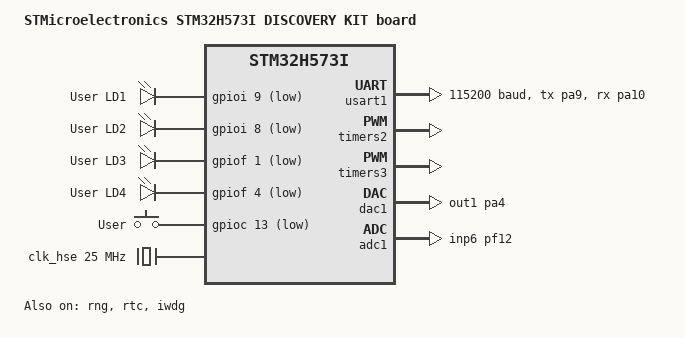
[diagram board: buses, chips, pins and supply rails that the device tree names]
/*
 * Copyright (c) 2023 STMicroelectronics
 *
 * SPDX-License-Identifier: Apache-2.0
 */

/dts-v1/;
#include <st/h5/stm32h573Xi.dtsi>
#include <st/h5/stm32h573iikxq-pinctrl.dtsi>
#include "arduino_r3_connector.dtsi"

/ {
	model = "STMicroelectronics STM32H573I DISCOVERY KIT board";
	compatible = "st,stm32h573i-dk";

	chosen {
		zephyr,console = &usart1;
		zephyr,shell-uart = &usart1;
		zephyr,sram = &sram0;
		zephyr,flash = &flash0;
		zephyr,code-partition = &slot0_partition;
	};

	leds {
		compatible = "gpio-leds";
		green_led_0: led_1 {
			gpios = <&gpioi 9 GPIO_ACTIVE_LOW>;
			label = "User LD1";
		};
		orange_led_0: led_2 {
			gpios = <&gpioi 8 GPIO_ACTIVE_LOW>;
			label = "User LD2";
		};
		red_led_0: led_3 {
			gpios = <&gpiof 1 GPIO_ACTIVE_LOW>;
			label = "User LD3";
		};
		blue_led_0: led_4 {
			gpios = <&gpiof 4 GPIO_ACTIVE_LOW>;
			label = "User LD4";
		};
	};

	gpio_keys {
		compatible = "gpio-keys";
		user_button: button {
			label = "User";
			gpios = <&gpioc 13 GPIO_ACTIVE_LOW>;
		};
	};

	aliases {
		led0 = &blue_led_0;
		sw0 = &user_button;
		watchdog0 = &iwdg;
	};
};

&clk_hsi48 {
	status = "okay";
};

&clk_lse {
	status = "okay";
};

&clk_hse {
	clock-frequency = <DT_FREQ_M(25)>;
	hse-bypass; /* X3 is a 25MHz oscillator on PH0 */
	status = "okay";
};

&pll {
	div-m = <5>;
	mul-n = <96>;
	div-p = <2>;
	div-q = <2>;
	div-r = <2>;
	clocks = <&clk_hse>;
	status = "okay";
};

&rcc {
	clocks = <&pll>;
	clock-frequency = <DT_FREQ_M(240)>;
	ahb-prescaler = <1>;
	apb1-prescaler = <1>;
	apb2-prescaler = <1>;
	apb3-prescaler = <1>;
};

&usart1 {
	pinctrl-0 = <&usart1_tx_pa9 &usart1_rx_pa10>;
	pinctrl-names = "default";
	current-speed = <115200>;
	status = "okay";
};

&timers2 {
	st,prescaler = <10000>;
	status = "okay";

	pwm2: pwm {
		status = "okay";
		pinctrl-0 = <&tim2_ch4_pa3>;
		pinctrl-names = "default";
	};
};

&timers3 {
	st,prescaler = <10000>;
	status = "okay";

	pwm3: pwm {
		status = "okay";
		pinctrl-0 = <&tim3_ch2_pb5>;
		pinctrl-names = "default";
	};
};

&rng {
	status = "okay";
};

&flash0 {
	partitions {
		compatible = "fixed-partitions";
		#address-cells = <1>;
		#size-cells = <1>;

		/* Set the partitions with first MB to make use of the whole Bank1 */
		boot_partition: partition@0 {
			label = "mcuboot";
			reg = <0x00000000 DT_SIZE_K(64)>;
		};
		slot0_partition: partition@10000 {
			label = "image-0";
			reg = <0x00010000 DT_SIZE_K(416)>;
		};
		slot1_partition: partition@78000 {
			label = "image-1";
			reg = <0x00078000 DT_SIZE_K(416)>;
		};
		scratch_partition: partition@e0000 {
			label = "image-scratch";
			reg = <0x000e0000 DT_SIZE_K(64)>;
		};
		/* Set 64KB of storage at the end of Bank1 */
		storage_partition: partition@f0000 {
			label = "storage";
			reg = <0x000f0000 DT_SIZE_K(64)>;
		};
	};
};

&rtc {
	clocks = <&rcc STM32_CLOCK_BUS_APB3 0x00200000>,
		 <&rcc STM32_SRC_LSE RTC_SEL(1)>;
	status = "okay";
};

&iwdg {
	status = "okay";
};

&gpdma1 {
	status = "okay";
};

&gpdma2 {
	status = "okay";
};

&dac1 {
	/* only 2 output channels : out1 on pa4 or out2 on pa5 */
	pinctrl-0 = <&dac1_out1_pa4>;  /* Arduino A1 */
	pinctrl-names = "default";
	status = "okay";
};

&adc1 {
	pinctrl-0 = <&adc1_inp6_pf12>; /* Arduino A5 */
	pinctrl-names = "default";
	status = "okay";
};
